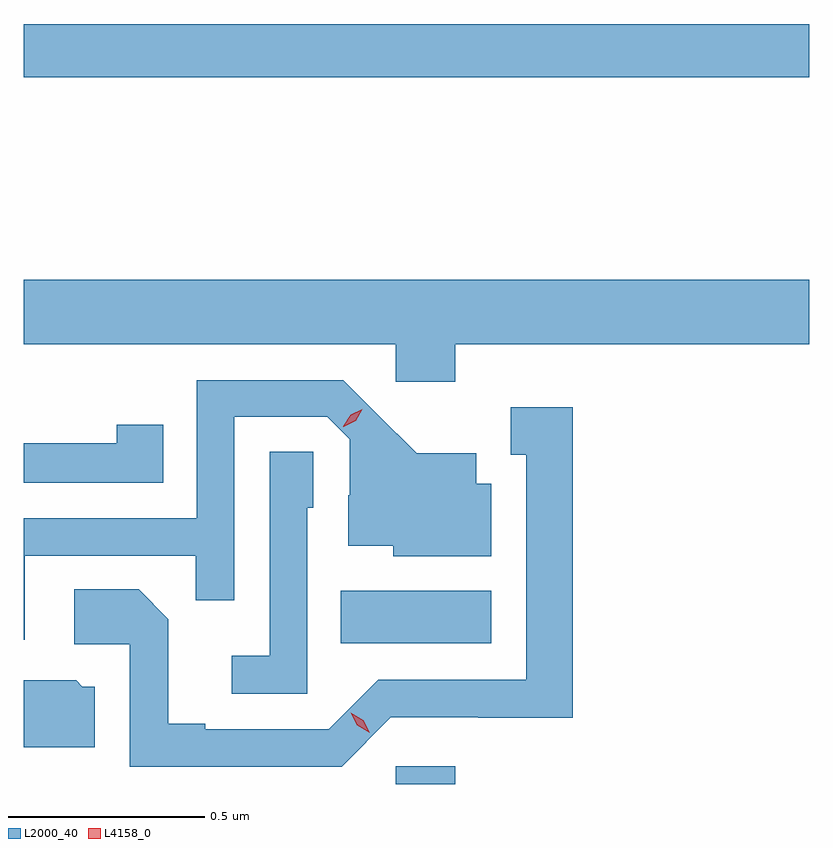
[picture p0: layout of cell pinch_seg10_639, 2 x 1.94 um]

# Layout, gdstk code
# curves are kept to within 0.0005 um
import gdstk
lib = gdstk.Library(unit=1e-6, precision=1e-09)
def R(c, l, rs):  # rectangles x0, y0, x1, y1
    for r in rs: c.add(gdstk.rectangle(r[:2], r[2:], *l))
def P(c, l, *ps):  # polygons
    for p in ps: c.add(gdstk.Polygon(p, *l))
L2000_40 = (2000, 40)
L4158_0 = (4158, 0)

pinch_seg10_639 = lib.new_cell('pinch_seg10_639')
R(pinch_seg10_639, L2000_40, [(363.06,1285.876,363.212,1285.921), (362.92,1286.234,363.304,1286.368), (362.113,1287.676,364.113,1287.812)])
P(pinch_seg10_639, L2000_40, [(363.212,1286.996),(364.113,1286.996),(364.113,1287.16),(362.113,1287.16),(362.113,1286.996),(363.06,1286.996),(363.06,1286.901),(363.212,1286.901)],
  [(362.115,1286.457),(362.551,1286.457),(362.551,1286.344),(362.649,1286.344),(362.649,1286.811),(362.886,1286.811),(362.943,1286.754),(362.943,1286.612),(362.939,1286.612),(362.939,1286.483),(363.054,1286.483),(363.054,1286.456),(363.304,1286.456),(363.304,1286.641),(363.265,1286.641),(363.265,1286.719),(363.113,1286.719),(362.926,1286.904),(362.553,1286.904),(362.553,1286.553),(362.113,1286.553),(362.113,1286.244),(362.115,1286.244)],
  [(363.048,1286.046),(363.27,1286.046),(363.27,1286.045),(363.511,1286.045),(363.511,1286.836),(363.353,1286.836),(363.353,1286.715),(363.392,1286.715),(363.392,1286.142),(363.015,1286.142),(362.889,1286.016),(362.575,1286.016),(362.575,1286.029),(362.481,1286.029),(362.481,1286.296),(362.405,1286.372),(362.241,1286.372),(362.241,1286.232),(362.382,1286.232),(362.382,1285.92),(362.922,1285.92)],
  [(362.468,1286.791),(362.35,1286.791),(362.35,1286.744),(362.113,1286.744),(362.113,1286.643),(362.468,1286.643)],
  [(362.835,1286.58),(362.85,1286.58),(362.85,1286.723),(362.739,1286.723),(362.739,1286.203),(362.643,1286.203),(362.643,1286.106),(362.835,1286.106)],
  [(362.293,1286.124),(362.262,1286.124),(362.246,1286.14),(362.113,1286.14),(362.113,1285.97),(362.293,1285.97)])
P(pinch_seg10_639, L4158_0, [(362.994,1286.006),(362.962,1286.026),(362.945,1286.058),(362.945,1286.058),(362.945,1286.058),(362.977,1286.039),(362.994,1286.007),(362.994,1286.006)],
  [(362.927,1286.786),(362.927,1286.787),(362.945,1286.816),(362.975,1286.831),(362.975,1286.831),(362.975,1286.831),(362.958,1286.801),(362.928,1286.786)])

lib.write_gds('pinch_seg10_639.gds')
